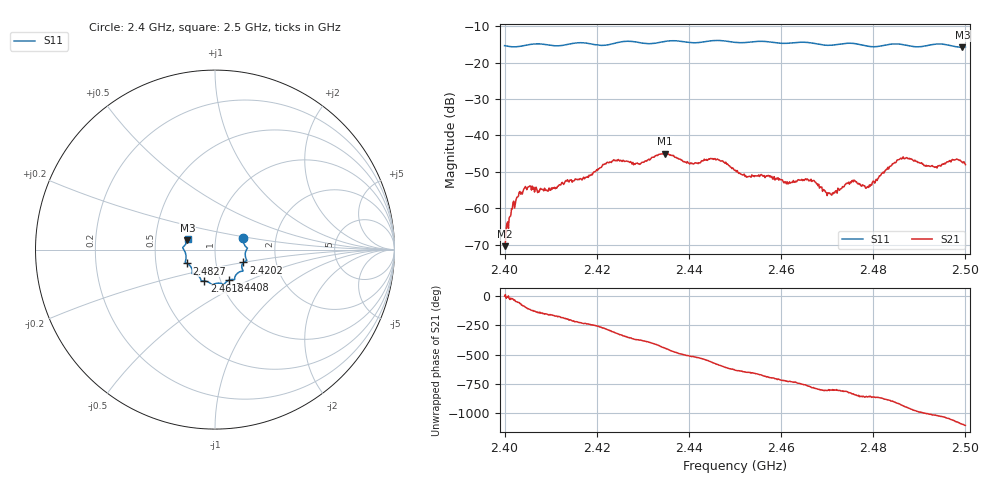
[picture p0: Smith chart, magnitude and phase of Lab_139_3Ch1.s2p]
# Hz S RI R 50
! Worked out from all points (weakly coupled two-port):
!   601 points, 2.4 GHz to 2.5 GHz, reference 50 ohm
!   highest |S21| = -44.95 dB at 2.4348 GHz (marker M1); lowest = -70.4 dB at 2.4 GHz (marker M2)
!   lowest |S11| = -15.8 dB at 2.4993 GHz (marker M3), VSWR 1.39, Z = 36.5 + j3.83 ohm
!   |S11| at or under -10 dB: start of sweep to end of sweep
!   S12 and S22 are empty: the file has one direction only
!   S11 on the Smith chart (normalised r, x): 2.4 GHz: 1.36, +0.18; 2.4202 GHz: 1.36, -0.20; 2.4408 GHz: 1.10, -0.39; 2.4618 GHz: 0.84, -0.30; 2.4827 GHz: 0.72, -0.12; 2.5 GHz: 0.73, +0.09
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2.4e9  0.1587 0.063  0.000302 -2.76e-05  0 0  0 0
2.4015e9  0.1589 0.0454  0.000864 -0.00048  0 0  0 0
2.404667e9  0.1726 0.0155  -0.000408 -0.00186  0 0  0 0
2.4095e9  0.1747 -0.00198  -0.00168 -0.000455  0 0  0 0
2.416667e9  0.1772 -0.061  -0.00155 0.00197  0 0  0 0
2.420167e9  0.1586 -0.0714  -0.000603 0.00326  0 0  0 0
2.433333e9  0.1116 -0.1507  0.00249 -0.00482  0 0  0 0
2.434833e9  0.1094 -0.1621  0.000277 -0.00565  0 0  0 0
2.440833e9  0.0803 -0.1693  -0.00372 -0.00166  0 0  0 0
2.446e9  0.0498 -0.1949  -0.00344 0.00315  0 0  0 0
2.45e9  0.0286 -0.1873  0.000161 0.0033  0 0  0 0
2.461833e9  -0.059 -0.1755  0.0023 -0.000262  0 0  0 0
2.466667e9  -0.0786 -0.1684  0.00114 -0.00204  0 0  0 0
2.471167e9  -0.1059 -0.1378  0.000362 -0.00159  0 0  0 0
2.4755e9  -0.1275 -0.1323  -0.000976 -0.00222  0 0  0 0
2.478833e9  -0.129 -0.1071  -0.00152 -0.00129  0 0  0 0
2.482667e9  -0.156 -0.0774  -0.00312 -0.0012  0 0  0 0
2.483333e9  -0.1604 -0.0754  -0.00337 -0.000818  0 0  0 0
2.486833e9  -0.1638 -0.061  -0.00361 0.00315  0 0  0 0
2.4935e9  -0.179 0.00708  0.00148 0.00339  0 0  0 0
2.499333e9  -0.1541 0.0511  0.00418 -0.00087  0 0  0 0
2.5e9  -0.1523 0.0607  0.0037 -0.00147  0 0  0 0
